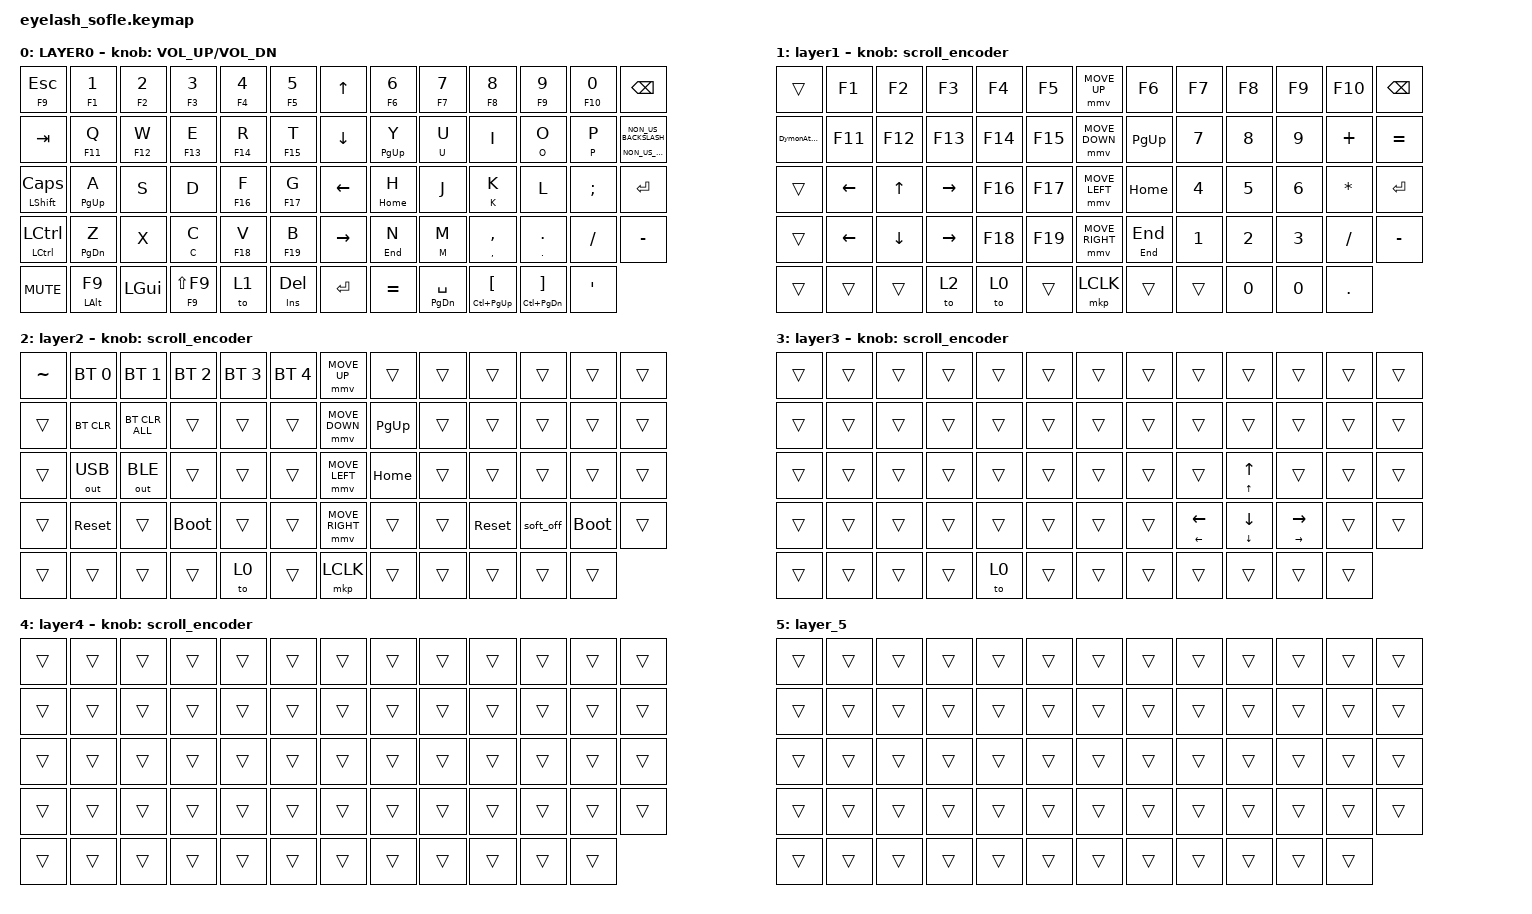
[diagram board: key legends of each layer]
#define ZMK_POINTING_DEFAULT_MOVE_VAL 1200  // 600
#define ZMK_POINTING_DEFAULT_SCRL_VAL 25   // 10

#include <input/processors.dtsi>
#include <zephyr/dt-bindings/input/input-event-codes.h>
#include <behaviors.dtsi>
#include <dt-bindings/zmk/bt.h>
#include <dt-bindings/zmk/keys.h>
#include <dt-bindings/zmk/outputs.h>
#include <dt-bindings/zmk/pointing.h>

&mmv_input_listener { input-processors = <&zip_xy_scaler 2 1>; };

&msc_input_listener { input-processors = <&zip_scroll_scaler 2 1>; };

&msc {
    acceleration-exponent = <1>;      // 0
    time-to-max-speed-ms = <100>;       // 300
    delay-ms = <0>;                   // 0
};

&mmv {
    time-to-max-speed-ms = <500>;
    acceleration-exponent = <1>;
    trigger-period-ms = <16>;
};

&soft_off { hold-time-ms = <2000>; };

/ {
    scroll_encoder: scroll_encoder {
        compatible = "zmk,behavior-sensor-rotate";
        #sensor-binding-cells = <0>;
        bindings = <&msc SCRL_DOWN>, <&msc SCRL_UP>;

        tap-ms = <100>;
    };

    behaviors {
        // สร้างพฤติกรรมใหม่: ต้องกดค้างนิดนึงหรือตั้งใจกดถึงจะติด

        safe_kp: safe_key_press {
            compatible = "zmk,behavior-hold-tap";
            #binding-cells = <2>;
            flavor = "tap-preferred";
            tapping-term-ms = <198>;    // ปรับเป็น 170ms เพื่อไม่ให้หน่วงจนเกินไปแต่กันลั่นได้ดี higher is you need more time to hold.
            quick-tap-ms = <125>;       // ช่วยให้พิมพ์เบิ้ลตัวอักษรเดิมได้ง่ายขึ้น
            require-prior-idle-ms = <125>; // ต้องมีการหยุดพักนิ้วเล็กน้อยก่อนกดปุ่มนี้ถึงจะติด (กันนิ้วแฉลบ)
            bindings = <&kp>, <&kp>;
        };
    };

    combos {
        compatible = "zmk,combos";

        softoff {
            bindings = <&soft_off>;
            key-positions = <14 28 40>;
        };
    };

    macros {
        SHIFT_MCLK: SHIFT_MCLK {
            compatible = "zmk,behavior-macro";
            #binding-cells = <0>;
            bindings =
                <&macro_press>,
                <&kp LEFT_SHIFT>,
                <&macro_press>,
                <&mkp MB3>,
                <&macro_pause_for_release>,
                <&macro_release>,
                <&kp LEFT_SHIFT &mkp MB3>;

            label = "SHIFT_MCLK";
        };

        DymonAt1123: DymonAt1123 {
            compatible = "zmk,behavior-macro";
            #binding-cells = <0>;
            bindings = <&kp B &kp B &kp LS(D) &kp Y &kp M &kp O &kp N &kp AT &kp N1 &kp N1 &kp N2 &kp N3>;
            label = "DYMONAT1123";
        };

        win_pass: win_pass {
            compatible = "zmk,behavior-macro";
            #binding-cells = <0>;
            bindings = <&kp G &kp O &kp I &kp COMMA &kp B &kp N9 &kp I &kp ENTER>;
            label = "WIN_PASS";
        };

        shift_f9: shift_f9 {
            compatible = "zmk,behavior-macro";
            #binding-cells = <0>;
            bindings = <&kp LS(F9)>;
            label = "SHIFT_F9";
        };

        f9: f9 {
            compatible = "zmk,behavior-macro";
            #binding-cells = <0>;
            bindings = <&kp F9>;
            label = "F9";
        };

        g541: g541 {
            compatible = "zmk,behavior-macro";
            #binding-cells = <0>;
            bindings = <&none &kp G &kp N5 &kp N4 &kp N1 &kp RET>;
            label = "G541";
        };
    };

    keymap {
        compatible = "zmk,keymap";

        layer0 {
            bindings = <
&safe_kp F9 ESCAPE   &safe_kp F1 N1        &safe_kp F2 N2  &safe_kp F3 N3      &safe_kp F4 N4  &safe_kp F5 N5      &kp UP_ARROW     &safe_kp F6 N6      &safe_kp F7 N7            &safe_kp F8 N8                     &safe_kp F9 N9                        &safe_kp F10 N0  &kp BACKSPACE
&kp TAB              &safe_kp F11 Q        &safe_kp F12 W  &safe_kp F13 E      &safe_kp F14 R  &safe_kp F15 T      &kp DOWN_ARROW   &safe_kp PAGE_UP Y  &safe_kp U U              &kp I                              &safe_kp O O                          &safe_kp P P     &safe_kp NON_US_BACKSLASH NON_US_BACKSLASH
&mt LEFT_SHIFT CAPS  &safe_kp PAGE_UP A    &kp S           &kp D               &safe_kp F16 F  &safe_kp F17 G      &kp LEFT_ARROW   &safe_kp HOME H     &kp J                     &safe_kp K K                       &kp L                                 &kp SEMI         &kp ENTER
&mt LCTRL LCTRL      &safe_kp PAGE_DOWN Z  &kp X           &safe_kp C C        &safe_kp F18 V  &safe_kp F19 B      &kp RIGHT_ARROW  &safe_kp END N      &safe_kp M M              &safe_kp COMMA COMMA               &safe_kp PERIOD PERIOD                &kp FSLH         &kp MINUS
&kp C_MUTE           &safe_kp LEFT_ALT F9  &kp LEFT_GUI    &safe_kp F9 LS(F9)  &to 1           &safe_kp INS DEL    &kp ENTER        &kp EQUAL           &safe_kp PAGE_DOWN SPACE  &safe_kp LC(PAGE_UP) LEFT_BRACKET  &safe_kp LC(PAGE_DOWN) RIGHT_BRACKET  &kp APOS
            >;

            sensor-bindings = <&inc_dec_kp C_VOLUME_UP C_VOL_DN>;
            display-name = "LAYER0";
        };

        layer_1 {
            bindings = <
&trans        &kp F1          &kp F2          &kp F3           &kp F4   &kp F5     &mmv MOVE_UP     &kp F6            &kp F7        &kp F8        &kp F9        &kp F10       &kp BACKSPACE
&DymonAt1123  &kp F11         &kp F12         &kp F13          &kp F14  &kp F15    &mmv MOVE_DOWN   &kp PG_UP         &kp N7        &kp N8        &kp N9        &kp PLUS      &kp EQUAL
&trans        &kp LEFT_ARROW  &kp UP_ARROW    &kp RIGHT_ARROW  &kp F16  &kp F17    &mmv MOVE_LEFT   &kp HOME          &kp NUMBER_4  &kp N5        &kp NUMBER_6  &kp ASTERISK  &kp ENTER
&trans        &kp LEFT_ARROW  &kp DOWN_ARROW  &kp RIGHT        &kp F18  &kp F19    &mmv MOVE_RIGHT  &safe_kp END END  &kp NUMBER_1  &kp NUMBER_2  &kp NUMBER_3  &kp SLASH     &kp MINUS
&trans        &trans          &trans          &to 2            &to 0    &trans     &mkp LCLK        &trans            &trans        &kp N0        &kp N0        &kp PERIOD
            >;

            display-name = "layer1";
            sensor-bindings = <&scroll_encoder>;
        };

        layer_2 {
            bindings = <
&kp TILDE  &bt BT_SEL 0  &bt BT_SEL 1    &bt BT_SEL 2  &bt BT_SEL 3  &bt BT_SEL 4    &mmv MOVE_UP     &trans       &trans  &trans      &trans     &trans       &trans
&trans     &bt BT_CLR    &bt BT_CLR_ALL  &trans        &trans        &trans          &mmv MOVE_DOWN   &kp PAGE_UP  &trans  &trans      &trans     &trans       &trans
&trans     &out OUT_USB  &out OUT_BLE    &trans        &trans        &trans          &mmv MOVE_LEFT   &kp HOME     &trans  &trans      &trans     &trans       &trans
&trans     &sys_reset    &trans          &bootloader   &trans        &trans          &mmv MOVE_RIGHT  &trans       &trans  &sys_reset  &soft_off  &bootloader  &trans
&trans     &trans        &trans          &trans        &to 0         &trans          &mkp LCLK        &trans       &trans  &trans      &trans     &trans
            >;

            display-name = "layer2";
            sensor-bindings = <&scroll_encoder>;
        };

        layer_3 {
            bindings = <
&trans  &trans  &trans  &trans  &trans  &trans    &trans  &trans  &trans                    &trans                      &trans                &trans  &trans
&trans  &trans  &trans  &trans  &trans  &trans    &trans  &trans  &trans                    &trans                      &trans                &trans  &trans
&trans  &trans  &trans  &trans  &trans  &trans    &trans  &trans  &trans                    &safe_kp UP_ARROW UP_ARROW  &trans                &trans  &trans
&trans  &trans  &trans  &trans  &trans  &trans    &trans  &trans  &safe_kp LEFT_ARROW LEFT  &safe_kp DOWN DOWN_ARROW    &safe_kp RIGHT RIGHT  &trans  &trans
&trans  &trans  &trans  &trans  &to 0   &trans    &trans  &trans  &trans                    &trans                      &trans                &trans
            >;

            display-name = "layer3";
            sensor-bindings = <&scroll_encoder>;
        };

        layer_4 {
            bindings = <
&trans  &trans  &trans  &trans  &trans  &trans    &trans  &trans  &trans  &trans  &trans  &trans  &trans
&trans  &trans  &trans  &trans  &trans  &trans    &trans  &trans  &trans  &trans  &trans  &trans  &trans
&trans  &trans  &trans  &trans  &trans  &trans    &trans  &trans  &trans  &trans  &trans  &trans  &trans
&trans  &trans  &trans  &trans  &trans  &trans    &trans  &trans  &trans  &trans  &trans  &trans  &trans
&trans  &trans  &trans  &trans  &trans  &trans    &trans  &trans  &trans  &trans  &trans  &trans
            >;

            display-name = "layer4";
            sensor-bindings = <&scroll_encoder>;
        };

        layer_5 {
            bindings = <
&trans  &trans  &trans  &trans  &trans  &trans    &trans  &trans  &trans  &trans  &trans  &trans  &trans
&trans  &trans  &trans  &trans  &trans  &trans    &trans  &trans  &trans  &trans  &trans  &trans  &trans
&trans  &trans  &trans  &trans  &trans  &trans    &trans  &trans  &trans  &trans  &trans  &trans  &trans
&trans  &trans  &trans  &trans  &trans  &trans    &trans  &trans  &trans  &trans  &trans  &trans  &trans
&trans  &trans  &trans  &trans  &trans  &trans    &trans  &trans  &trans  &trans  &trans  &trans
            >;
        };
    };
};
